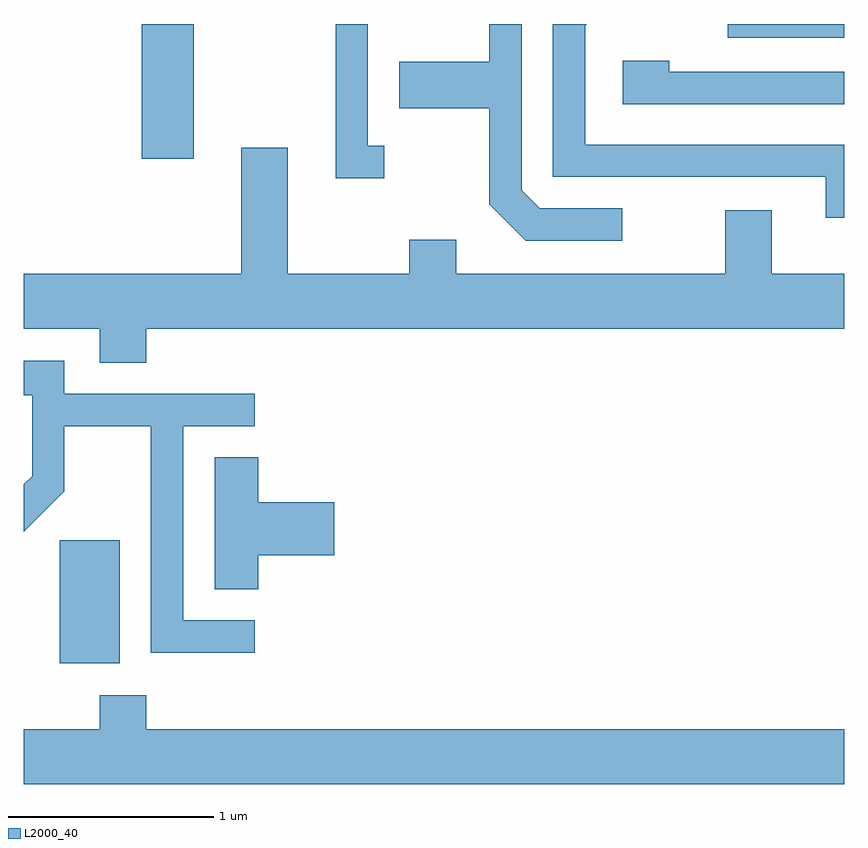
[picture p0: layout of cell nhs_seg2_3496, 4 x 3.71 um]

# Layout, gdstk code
import gdstk
lib = gdstk.Library(unit=1e-6, precision=1e-09)
def R(c, l, rs):  # rectangles x0, y0, x1, y1
    for r in rs: c.add(gdstk.rectangle(r[:2], r[2:], *l))
def P(c, l, *ps):  # polygons
    for p in ps: c.add(gdstk.Polygon(p, *l))
L2000_40 = (2000, 40)

nhs_seg2_3496 = lib.new_cell('nhs_seg2_3496')
R(nhs_seg2_3496, L2000_40, [(287.786,1046.686,288.079,1047.284), (288.186,1049.146,288.439,1049.802), (291.043,1049.736,291.611,1049.802)])
P(nhs_seg2_3496, L2000_40, [(290.528,1048.904),(290.127,1048.904),(290.039,1048.992),(290.039,1049.802),(289.881,1049.802),(289.881,1049.619),(289.441,1049.619),(289.441,1049.391),(289.881,1049.391),(289.881,1048.924),(290.059,1048.746),(290.528,1048.746)],
  [(291.611,1049.214),(290.349,1049.214),(290.349,1049.794),(290.357,1049.802),(290.191,1049.802),(290.191,1049.056),(291.521,1049.056),(291.521,1048.858),(291.611,1048.858)],
  [(289.368,1049.209),(289.289,1049.209),(289.289,1049.802),(289.131,1049.802),(289.131,1049.051),(289.368,1049.051)],
  [(291.611,1049.569),(290.759,1049.569),(290.759,1049.624),(290.531,1049.624),(290.531,1049.411),(291.611,1049.411)],
  [(288.209,1048.316),(291.611,1048.316),(291.611,1048.584),(291.259,1048.584),(291.259,1048.894),(291.031,1048.894),(291.031,1048.584),(289.719,1048.584),(289.719,1048.749),(289.491,1048.749),(289.491,1048.584),(288.899,1048.584),(288.899,1049.199),(288.671,1049.199),(288.671,1048.584),(287.611,1048.584),(287.611,1048.316),(287.981,1048.316),(287.981,1048.151),(288.209,1048.151)],
  [(288.738,1046.894),(288.389,1046.894),(288.389,1047.841),(288.738,1047.841),(288.738,1047.999),(287.809,1047.999),(287.809,1048.159),(287.611,1048.159),(287.611,1047.991),(287.651,1047.991),(287.651,1047.597),(287.611,1047.557),(287.611,1047.326),(287.809,1047.524),(287.809,1047.841),(288.231,1047.841),(288.231,1046.736),(288.738,1046.736)],
  [(288.754,1047.211),(289.124,1047.211),(289.124,1047.469),(288.754,1047.469),(288.754,1047.689),(288.541,1047.689),(288.541,1047.046),(288.754,1047.046)],
  [(291.611,1046.364),(288.209,1046.364),(288.209,1046.529),(287.981,1046.529),(287.981,1046.364),(287.611,1046.364),(287.611,1046.096),(291.611,1046.096)])

lib.write_gds('nhs_seg2_3496.gds')
